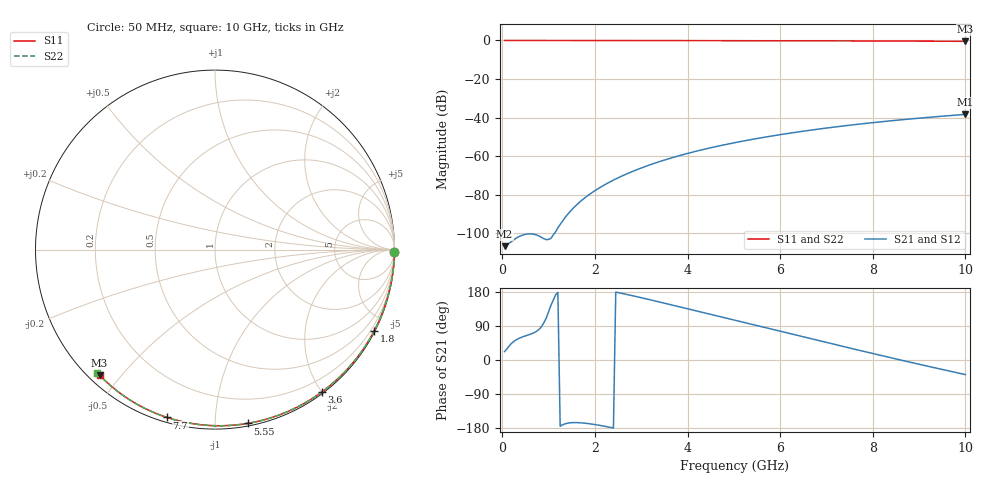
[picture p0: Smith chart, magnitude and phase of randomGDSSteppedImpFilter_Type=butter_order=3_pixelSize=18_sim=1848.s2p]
! freq	dB(S11)	phase(S11)	dB(S12)	phase(S12)
!  dB(S21)	phase(S21)	dB(S22)	phase(S22)
!S-par simulation data
#  GHz  S  DB  R 50
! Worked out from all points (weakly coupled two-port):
!   200 points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, 50 MHz to 10 GHz, reference 50 ohm
!   highest |S21| = -38.33 dB at 10 GHz (marker M1); lowest = -106.7 dB at 50 MHz (marker M2)
!   lowest |S11| = -0.4 dB at 10 GHz (marker M3), VSWR 38.95, Z = 1.53 - j21.9 ohm
!   |S11| at or under -10 dB: nowhere
!   |S22| runs from -0.5 to 0.0 dB; largest |S21 - S12| = 0
!   S11 on the Smith chart (normalised r, x): 50 MHz: open; 1.8 GHz: 0.04, -4.13; 3.6 GHz: 0.02, -2.00; 5.55 GHz: 0.02, -1.20; 7.7 GHz: 0.02, -0.75; 10 GHz: 0.03, -0.44
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0.05  -0.00 -0.8  -106.69 22.4  -106.69 22.4  -0.00 -0.8
0.45  -0.01 -6.9  -100.85 61.6  -100.85 61.6  -0.01 -7.0
0.9  -0.02 -13.7  -102.82 98.9  -102.82 98.9  -0.02 -13.8
1.75  -0.03 -26.5  -82.23 -166.3  -82.23 -166.3  -0.03 -26.7
1.8  -0.03 -27.2  -81.29 -167.0  -81.29 -167.0  -0.03 -27.4
1.85  -0.04 -28.0  -80.39 -167.7  -80.39 -167.7  -0.04 -28.1
1.9  -0.04 -28.7  -79.53 -168.5  -79.53 -168.5  -0.04 -28.9
2.05  -0.04 -30.9  -77.13 -171.4  -77.13 -171.4  -0.04 -31.1
2.25  -0.04 -33.8  -74.31 -175.8  -74.31 -175.8  -0.04 -34.1
2.65  -0.05 -39.7  -69.57 174.0  -69.57 174.0  -0.05 -39.9
3  -0.06 -44.7  -66.14 164.4  -66.14 164.4  -0.06 -45.0
3.4  -0.07 -50.4  -62.78 152.9  -62.78 152.9  -0.07 -50.7
3.6  -0.07 -53.2  -61.28 147.0  -61.28 147.0  -0.07 -53.5
4.3  -0.09 -62.8  -56.77 126.2  -56.77 126.2  -0.09 -63.3
5.05  -0.11 -72.9  -52.86 103.8  -52.86 103.8  -0.11 -73.4
5.55  -0.13 -79.4  -50.64 89.0  -50.64 89.0  -0.13 -79.9
6.1  -0.15 -86.4  -48.48 72.7  -48.48 72.7  -0.15 -87.0
6.7  -0.18 -93.9  -46.38 55.0  -46.38 55.0  -0.18 -94.5
7.7  -0.24 -106.0  -43.40 25.8  -43.40 25.8  -0.24 -106.7
8.35  -0.29 -113.6  -41.76 7.1  -41.76 7.1  -0.29 -114.4
9.15  -0.36 -122.9  -39.99 -15.4  -39.99 -15.4  -0.36 -123.8
10  -0.45 -132.6  -38.33 -38.5  -38.33 -38.5  -0.45 -133.7
